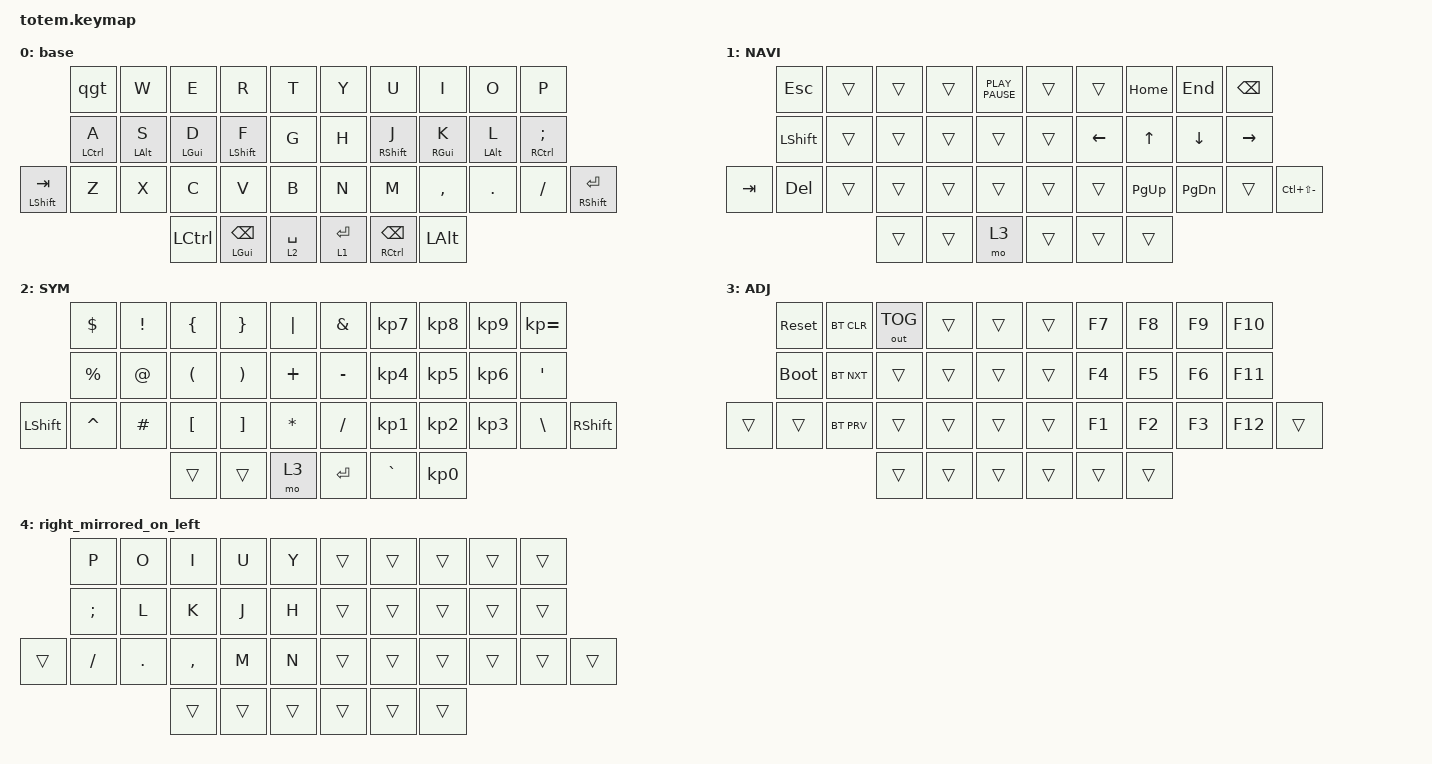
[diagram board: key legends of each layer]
//
//                                                        ▀▀▀▀▀     ▀▀▀▀▀          ▀▀█▀▀
//                                                        ▄▀▀▀▄  ▄  ▄▀▀▀▄  ▄  ▄▀▀▀▄  █  ▄▀▀▀▄
//                                                        █   █  █  █   █  █  █   █  █  █   █
//                                                         ▀▀▀   █   ▀▀▀   █   ▀▀▀   ▀   ▀▀▀
//                                                               █      ▄▄▄█▄▄▄    █   █  
//                                                               ▀      █  █  █     █▄█
//                                                             ▀▀▀▀▀    █  █  █      ▀
//                                                                      ▀  ▀  ▀
//
// ▄▄▄▄▄▄▄▄▄▄▄▄▄▄▄▄▄▄▄▄▄▄▄▄▄▄▄▄▄▄▄▄▄▄▄▄▄▄▄▄▄▄▄▄▄▄▄▄▄▄▄▄▄▄▄▄▄▄▄▄▄▄▄▄▄▄▄▄▄▄▄▄▄▄▄▄▄▄▄▄▄▄▄▄▄▄▄▄▄▄▄▄▄▄▄▄▄▄▄▄▄▄▄▄▄▄▄▄▄▄▄▄▄▄▄▄▄▄▄▄▄▄▄▄▄▄▄▄▄▄▄▄▄▄▄▄▄▄▄▄▄▄▄▄▄▄▄▄▄

#include <behaviors.dtsi>
#include <dt-bindings/zmk/bt.h>
#include <dt-bindings/zmk/keys.h>
#include <dt-bindings/zmk/outputs.h>

#define BASE 0
#define NAV  1
#define SYM  2
#define ADJ  3
#define TVP1 4
#define TVP2 5

&mt {
    quick-tap-ms = <200>;
    global-quick-tap;
    flavor = "tap-preferred";
    tapping-term-ms = <170>;
};

/ {
    combos {
        compatible = "zmk,combos";

        combo_esc {
            timeout-ms = <50>;
            key-positions = <0 1>;
            bindings = <&kp ESC>;
        };

        thumbs_alt {
            bindings = <&kp LEFT_ALT>;
            key-positions = <33 36>;
            layers = <0>;
        };

        thumbs_enter {
            bindings = <&kp ENTER>;
            key-positions = <34 35>;
            layers = <0>;
        };

        lbracecombo {
            bindings = <&kp LEFT_BRACE>;
            key-positions = <2 3>;
        };

        lparcombo {
            bindings = <&kp LEFT_PARENTHESIS>;
            key-positions = <12 13>;
        };

        lbracketcombo {
            bindings = <&kp LEFT_BRACKET>;
            key-positions = <23 24>;
        };

        rbracecombo {
            bindings = <&kp RIGHT_BRACE>;
            key-positions = <6 7>;
        };

        rparcombo {
            bindings = <&kp RIGHT_PARENTHESIS>;
            key-positions = <17 16>;
        };

        rbracketcombo {
            bindings = <&kp RIGHT_BRACKET>;
            key-positions = <27 28>;
        };

        oneshot_mirror {
            bindings = <&sl 4>;
            key-positions = <32 33>;
            slow-release;
            layers = <0>;
            timeout-ms = <0>;
        };
    };

    behaviors {
        hm: homerow_mods {
            compatible = "zmk,behavior-hold-tap";
            #binding-cells = <2>;
            tapping-term-ms = <240>;
            quick-tap-ms = <200>;
            flavor = "tap-preferred";
            bindings = <&kp>, <&kp>;

            require-prior-idle-ms = <125>;
        };

        lh_pht: left_positional_hold_tap {
            compatible = "zmk,behavior-hold-tap";
            #binding-cells = <2>;
            flavor = "tap-unless-interrupted";
            tapping-term-ms = <200>;                        // <---[[produces tap if held longer than tapping-term-ms]]
            quick-tap-ms = <200>;
            bindings = <&kp>, <&kp>;

            hold-trigger-key-positions = <5 6 7 8 9 9 15 16 18 19 26 27 28 29 30 31 36 37 17 35 36 13 12 11 10>;    // <---[[right-hand keys]]
        };

        rh_pht: rh_pht {
            compatible = "zmk,behavior-hold-tap";
            #binding-cells = <2>;
            flavor = "tap-unless-interrupted";
            tapping-term-ms = <200>;
            quick-tap-ms = <200>;
            bindings = <&kp>, <&kp>;

            label = "RH_PHT";
            hold-trigger-key-positions = <16 17 18 19 0 1 2 3 4 10 11 12 13 14 20 21 22 23 24 25 32 33 32 33 34>;
        };

        qgt: qgt {
            compatible = "zmk,behavior-mod-morph";
            label = "q_to_gui_tab";
            bindings = <&kp Q>, <&kp TAB>;

            #binding-cells = <0>;
            mods = <(MOD_LGUI|MOD_RGUI)>;
            keep-mods = <(MOD_LGUI|MOD_RGUI)>;
        };
    };

    macros {
        gif: gif {
            label = "giphy";
            compatible = "zmk,behavior-macro";
            #binding-cells = <0>;
            bindings =
                <&macro_press>,
                <&kp LSHFT>,
                <&macro_tap>,
                <&kp N2>,
                <&macro_release>,
                <&kp LSHFT>,
                <&macro_tap>,
                <&kp G &kp I &kp F>;
        };
    };

    keymap {
        compatible = "zmk,keymap";

        // ▄▄▄▄▄▄▄▄▄▄▄▄▄▄▄▄▄▄▄▄▄▄▄▄▄▄▄▄▄▄▄▄▄▄▄▄▄▄▄▄▄▄▄▄▄▄▄▄▄▄▄▄▄▄▄▄▄▄▄▄▄▄▄▄▄▄▄▄▄▄▄▄▄▄▄▄▄▄▄▄▄▄▄▄▄▄▄▄▄▄▄▄▄▄▄▄▄▄▄▄▄▄▄▄▄▄▄▄▄▄▄▄▄▄▄▄▄▄▄▄▄▄▄▄▄▄▄▄▄▄▄▄▄▄▄▄▄▄▄▄▄▄▄▄▄▄▄▄▄

        base {
            bindings = <
                &qgt         &kp W       &kp E       &kp R               &kp T          &kp Y        &kp U                &kp I       &kp O           &kp P
                &hm LCTRL A  &hm LALT S  &hm LGUI D  &hm LSHFT F         &kp G          &kp H        &hm RSHFT J          &hm RGUI K  &hm LEFT_ALT L  &hm RCTRL SEMICOLON
&mt LSHIFT TAB  &kp Z        &kp X       &kp C       &kp V               &kp B          &kp N        &kp M                &kp COMMA   &kp PERIOD      &kp SLASH            &mt RIGHT_SHIFT ENTER
                                         &kp LCTRL   &mt LGUI BACKSPACE  &lt 2 SPACE    &lt 1 ENTER  &mt RCTRL BACKSPACE  &kp LALT
            >;
        };

        nav_layer {
            // ┏━━━━━━━━━━━━━━━━━━━━━━━━━━━━━━━━━━━━━━━┓

            label = "NAVI";

            // ┗━━━━━━━━━━━━━━━━━━━━━━━━━━━━━━━━━━━━━━━┛
            //             ┏━━━━━━━━━━━┳━━━━━━━━━━━┳━━━━━━━━━━━┳━━━━━━━━━━━┳━━━━━━━━━━━┓   ┏━━━━━━━━━━━┳━━━━━━━━━━━┳━━━━━━━━━━━┳━━━━━━━━━━━┳━━━━━━━━━━━┓
            //             ┃           ┃           ┃     UP    ┃           ┃     {     ┃   ┃     }     ┃     7     ┃     8     ┃     9     ┃     +     ┃
            //             ┣━━━━━━━━━━━╋━━━━━━━━━━━╋━━━━━━━━━━━╋━━━━━━━━━━━╋━━━━━━━━━━━┫   ┣━━━━━━━━━━━╋━━━━━━━━━━━╋━━━━━━━━━━━╋━━━━━━━━━━━╋━━━━━━━━━━━┫
            //             ┃   SHIFT   ┃   LEFT    ┃    DOWN   ┃   RIGHT   ┃     [     ┃   ┃     ]     ┃     4     ┃     5     ┃     6     ┃     -     ┃
            // ┏━━━━━━━━━━━╋━━━━━━━━━━━╋━━━━━━━━━━━╋━━━━━━━━━━━╋━━━━━━━━━━━╋━━━━━━━━━━━┫   ┣━━━━━━━━━━━╋━━━━━━━━━━━╋━━━━━━━━━━━╋━━━━━━━━━━━╋━━━━━━━━━━━╋━━━━━━━━━━━┓
            // ┃           ┃           ┃   P UP    ┃  C LOCK   ┃  P DOWN   ┃     (     ┃   ┃     )     ┃     1     ┃     2     ┃     3     ┃     *     ┃           ┃
            // ┗━━━━━━━━━━━┻━━━━━━━━━━━┻━━━━━━━━━━━╋━━━━━━━━━━━╋━━━━━━━━━━━╋━━━━━━━━━━━┫   ┣━━━━━━━━━━━╋━━━━━━━━━━━╋━━━━━━━━━━━╋━━━━━━━━━━━┻━━━━━━━━━━━┻━━━━━━━━━━━┛
            //                                     ┃           ┃    TAB    ┃    SPC    ┃   ┃    DEL    ┃     0     ┃           ┃
            //                                     ┗━━━━━━━━━━━┻━━━━━━━━━━━┻━━━━━━━━━━━┛   ┗━━━━━━━━━━━┻━━━━━━━━━━━┻━━━━━━━━━━━┛

            bindings = <
         &kp ESC    &trans  &trans  &trans  &kp K_PLAY_PAUSE    &trans  &trans    &kp HOME      &kp END        &kp BACKSPACE
         &kp LSHFT  &trans  &trans  &trans  &trans              &trans  &kp LEFT  &kp UP_ARROW  &kp DOWN       &kp RIGHT
&kp TAB  &kp DEL    &trans  &trans  &trans  &trans              &trans  &trans    &kp PAGE_UP   &kp PAGE_DOWN  &trans         &kp LC(LS(MINUS))
                            &trans  &trans  &mo 3               &trans  &trans    &trans
            >;
        };

        symbol_layer {
            // ┏━━━━━━━━━━━━━━━━━━━━━━━━━━━━━━━━━━━━━━━┓

            label = "SYM";

            // ┗━━━━━━━━━━━━━━━━━━━━━━━━━━━━━━━━━━━━━━━┛
            //             ┏━━━━━━━━━━━┳━━━━━━━━━━━┳━━━━━━━━━━━┳━━━━━━━━━━━┳━━━━━━━━━━━┓   ┏━━━━━━━━━━━┳━━━━━━━━━━━┳━━━━━━━━━━━┳━━━━━━━━━━━┳━━━━━━━━━━━┓
            //             ┃     !     ┃     @     ┃     #     ┃     $     ┃     %     ┃   ┃     ˆ     ┃     &     ┃     Ü     ┃     '     ┃     "     ┃
            //             ┣━━━━━━━━━━━╋━━━━━━━━━━━╋━━━━━━━━━━━╋━━━━━━━━━━━╋━━━━━━━━━━━┫   ┣━━━━━━━━━━━╋━━━━━━━━━━━╋━━━━━━━━━━━╋━━━━━━━━━━━╋━━━━━━━━━━━┫
            //             ┃     Ä     ┃           ┃    SZ     ┃           ┃           ┃   ┃   MUTE    ┃   YEN     ┃   EURO    ┃  POUND    ┃     Ö     ┃
            // ┏━━━━━━━━━━━╋━━━━━━━━━━━╋━━━━━━━━━━━╋━━━━━━━━━━━╋━━━━━━━━━━━╋━━━━━━━━━━━┫   ┣━━━━━━━━━━━╋━━━━━━━━━━━╋━━━━━━━━━━━╋━━━━━━━━━━━╋━━━━━━━━━━━╋━━━━━━━━━━━┓
            // ┃           ┃  EMAIL1   ┃  EMAIL2   ┃           ┃           ┃           ┃   ┃   VOL-    ┃   VOL+    ┃   LAST    ┃   NEXT    ┃     \     ┃           ┃
            // ┗━━━━━━━━━━━┻━━━━━━━━━━━┻━━━━━━━━━━━╋━━━━━━━━━━━╋━━━━━━━━━━━╋━━━━━━━━━━━┫   ┣━━━━━━━━━━━╋━━━━━━━━━━━╋━━━━━━━━━━━╋━━━━━━━━━━━┻━━━━━━━━━━━┻━━━━━━━━━━━┛
            //                                     ┃           ┃    GIF    ┃    ADJ    ┃   ┃           ┃           ┃           ┃
            //                                     ┗━━━━━━━━━━━┻━━━━━━━━━━━┻━━━━━━━━━━━┛   ┗━━━━━━━━━━━┻━━━━━━━━━━━┻━━━━━━━━━━━┛

            bindings = <
           &kp DOLLAR   &kp EXCLAMATION  &kp LEFT_BRACE        &kp RIGHT_BRACE        &kp PIPE    &kp AMPERSAND  &kp KP_N7        &kp KP_NUMBER_8  &kp KP_NUMBER_9  &kp KP_EQUAL
           &kp PERCENT  &kp AT_SIGN      &kp LEFT_PARENTHESIS  &kp RIGHT_PARENTHESIS  &kp PLUS    &kp MINUS      &kp KP_NUMBER_4  &kp KP_NUMBER_5  &kp KP_NUMBER_6  &kp SQT
&kp LSHFT  &kp CARET    &kp HASH         &kp LEFT_BRACKET      &kp RIGHT_BRACKET      &kp STAR    &kp SLASH      &kp KP_NUMBER_1  &kp KP_NUMBER_2  &kp KP_NUMBER_3  &kp BSLH      &kp RSHIFT
                                         &trans                &trans                 &mo 3       &kp ENTER      &kp GRAVE        &kp KP_NUMBER_0
            >;
        };

        adjust_layer {
            // ┏━━━━━━━━━━━━━━━━━━━━━━━━━━━━━━━━━━━━━━━┓

            label = "ADJ";

            // ┗━━━━━━━━━━━━━━━━━━━━━━━━━━━━━━━━━━━━━━━┛
            //             ┏━━━━━━━━━━━┳━━━━━━━━━━━┳━━━━━━━━━━━┳━━━━━━━━━━━┳━━━━━━━━━━━┓   ┏━━━━━━━━━━━┳━━━━━━━━━━━┳━━━━━━━━━━━┳━━━━━━━━━━━┳━━━━━━━━━━━┓
            //             ┃   RESET   ┃ BT CLEAR  ┃  OUT TOG  ┃           ┃           ┃   ┃           ┃    F7     ┃    F8     ┃    F9     ┃    F12    ┃
            //             ┣━━━━━━━━━━━╋━━━━━━━━━━━╋━━━━━━━━━━━╋━━━━━━━━━━━╋━━━━━━━━━━━┫   ┣━━━━━━━━━━━╋━━━━━━━━━━━╋━━━━━━━━━━━╋━━━━━━━━━━━╋━━━━━━━━━━━┫
            //             ┃ BOOTLOAD  ┃ BT NEXT   ┃           ┃           ┃           ┃   ┃           ┃    F4     ┃    F5     ┃    F6     ┃    F11    ┃
            // ┏━━━━━━━━━━━╋━━━━━━━━━━━╋━━━━━━━━━━━╋━━━━━━━━━━━╋━━━━━━━━━━━╋━━━━━━━━━━━┫   ┣━━━━━━━━━━━╋━━━━━━━━━━━╋━━━━━━━━━━━╋━━━━━━━━━━━╋━━━━━━━━━━━╋━━━━━━━━━━━┓
            // ┃           ┃           ┃ BT PREV   ┃           ┃           ┃           ┃   ┃           ┃    F1     ┃    F2     ┃    F3     ┃    F10    ┃           ┃
            // ┗━━━━━━━━━━━┻━━━━━━━━━━━┻━━━━━━━━━━━╋━━━━━━━━━━━╋━━━━━━━━━━━╋━━━━━━━━━━━┫   ┣━━━━━━━━━━━╋━━━━━━━━━━━╋━━━━━━━━━━━╋━━━━━━━━━━━┻━━━━━━━━━━━┻━━━━━━━━━━━┛
            //                                     ┃           ┃           ┃           ┃   ┃           ┃           ┃           ┃
            //                                     ┗━━━━━━━━━━━┻━━━━━━━━━━━┻━━━━━━━━━━━┛   ┗━━━━━━━━━━━┻━━━━━━━━━━━┻━━━━━━━━━━━┛

            bindings = <
        &sys_reset   &bt BT_CLR  &out OUT_TOG  &trans  &trans    &trans  &kp F7  &kp F8  &kp F9  &kp F10
        &bootloader  &bt BT_NXT  &trans        &trans  &trans    &trans  &kp F4  &kp F5  &kp F6  &kp F11
&trans  &trans       &bt BT_PRV  &trans        &trans  &trans    &trans  &kp F1  &kp F2  &kp F3  &kp F12  &trans
                                 &trans        &trans  &trans    &trans  &trans  &trans
            >;
        };

        right_mirrored_on_left {
            bindings = <
        &kp P     &kp O    &kp I      &kp U   &kp Y     &trans  &trans  &trans  &trans  &trans
        &kp SEMI  &kp L    &kp K      &kp J   &kp H     &trans  &trans  &trans  &trans  &trans
&trans  &kp FSLH  &kp DOT  &kp COMMA  &kp M   &kp N     &trans  &trans  &trans  &trans  &trans  &trans
                           &trans     &trans  &trans    &trans  &trans  &trans
            >;
        };

        // ▄▄▄▄▄▄▄▄▄▄▄▄▄▄▄▄▄▄▄▄▄▄▄▄▄▄▄▄▄▄▄▄▄▄▄▄▄▄▄▄▄▄▄▄▄▄▄▄▄▄▄▄▄▄▄▄▄▄▄▄▄▄▄▄▄▄▄▄▄▄▄▄▄▄▄▄▄▄▄▄▄▄▄▄▄▄▄▄▄▄▄▄▄▄▄▄▄▄▄▄▄▄▄▄▄▄▄▄▄▄▄▄▄▄▄▄▄▄▄▄▄▄▄▄▄▄▄▄▄▄▄▄▄▄▄▄▄▄▄▄▄▄▄▄▄▄▄▄▄
        // ▄▄▄▄▄▄▄▄▄▄▄▄▄▄▄▄▄▄▄▄▄▄▄▄▄▄▄▄▄▄▄▄▄▄▄▄▄▄▄▄▄▄▄▄▄▄▄▄▄▄▄▄▄▄▄▄▄▄▄▄▄▄▄▄▄▄▄▄▄▄▄▄▄▄▄▄▄▄▄▄▄▄▄▄▄▄▄▄▄▄▄▄▄▄▄▄▄▄▄▄▄▄▄▄▄▄▄▄▄▄▄▄▄▄▄▄▄▄▄▄▄▄▄▄▄▄▄▄▄▄▄▄▄▄▄▄▄▄▄▄▄▄▄▄▄▄▄▄▄
    };
};
